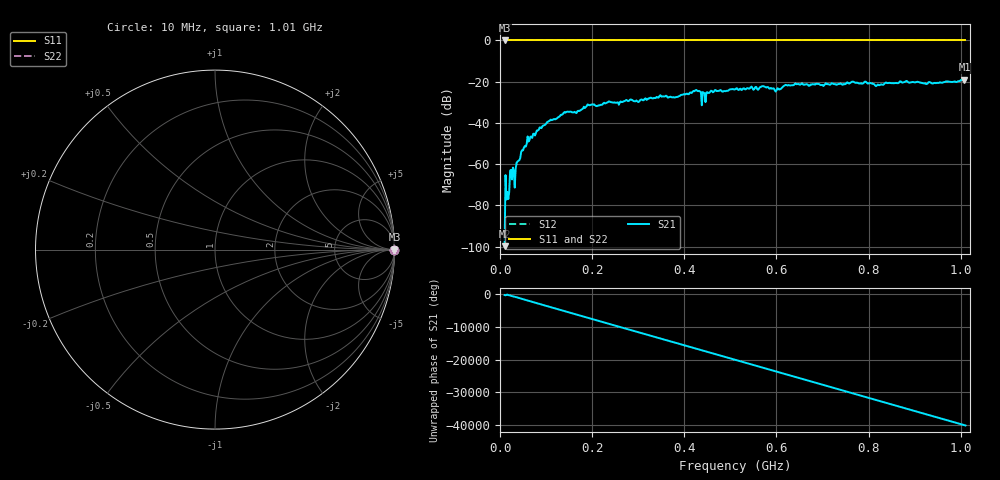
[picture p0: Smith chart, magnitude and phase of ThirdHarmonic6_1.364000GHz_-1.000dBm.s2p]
! 8/16/2025 3:25:21 PM
! C:\ANRITSUVNA\TEMP\TEMP.S2P
! CHANNEL.1
! TR.MEASUREMENT
! RAW.DATA
! RF.CORRECTION.OFF
! AVERAGING.OFF
! IF.BANDWIDTH: 5KHZ
! SWEEPTYPE:  FREQ.SWEEP(Linear)
! Reference Plane Port Info
! PORT:  PORT1  PORT2
! DISTANCE:  0  m  0  m
! TIME:  0  s  0  s
! PHASE.OFFSET:  0  deg.  0  deg.
! LOSS:  0  dB  0  dB
! REF.LOSS:  0  dB  0  dB
! REF.FREQ:  0  Hz  0  Hz
! Power Info
! POWER:  -20  dBm  -20  dBm
! EFF.POWER:  -20  dBm  -20  dBm
! SOURCE.ATTEN:  0  dB  0  dB
! TEST.ATTEN:  0  dB  0  dB
# GHZ S RI R 50.0
! FREQ.GHZ  S11RE  S11IM  S21RE  S21IM  S12RE  S12IM  S22RE  S22IM
!; PortSelection: Port_12
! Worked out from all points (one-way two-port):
!   501 points, 10 MHz to 1.01 GHz, reference 50 ohm
!   highest |S21| = -19.02 dB at 1.008 GHz (marker M1); lowest = -99.8 dB at 10 MHz (marker M2)
!   lowest |S11| = 0.0 dB at 10 MHz (marker M3)
!   |S11| at or under -10 dB: nowhere
!   |S22| runs from 0.0 to 0.0 dB; largest |S21 - S12| = 1.1
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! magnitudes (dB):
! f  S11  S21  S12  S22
! 10 MHz  0.0  -99.8  0.0  0.0
! 18 MHz  0.0  -76.9  0.0  0.0
! 26 MHz  0.0  -67.4  0.0  0.0
! 30 MHz  0.0  -63.5  0.0  0.0
! 50 MHz  0.0  -53.3  0.0  0.0
! 64 MHz  0.0  -48.3  0.0  0.0
! 106 MHz  0.0  -39.1  0.0  0.0
! 178 MHz  0.0  -33.4  0.0  0.0
! 194 MHz  0.0  -31.5  0.0  0.0
! 344 MHz  0.0  -27.8  0.0  0.0
! 382 MHz  0.0  -27.5  0.0  0.0
! 428 MHz  0.0  -24.4  0.0  0.0
! 442 MHz  0.0  -25.4  0.0  0.0
! 454 MHz  0.0  -25.5  0.0  0.0
! 510 MHz  0.0  -23.7  0.0  0.0
! 570 MHz  0.0  -22.2  0.0  0.0
! 600 MHz  0.0  -24.3  0.0  0.0
! 622 MHz  0.0  -21.7  0.0  0.0
! 678 MHz  0.0  -21.2  0.0  0.0
! 844 MHz  0.0  -20.6  0.0  0.0
! 1.008 GHz  0.0  -19.0  0.0  0.0
! 1.01 GHz  0.0  -19.4  0.0  0.0
